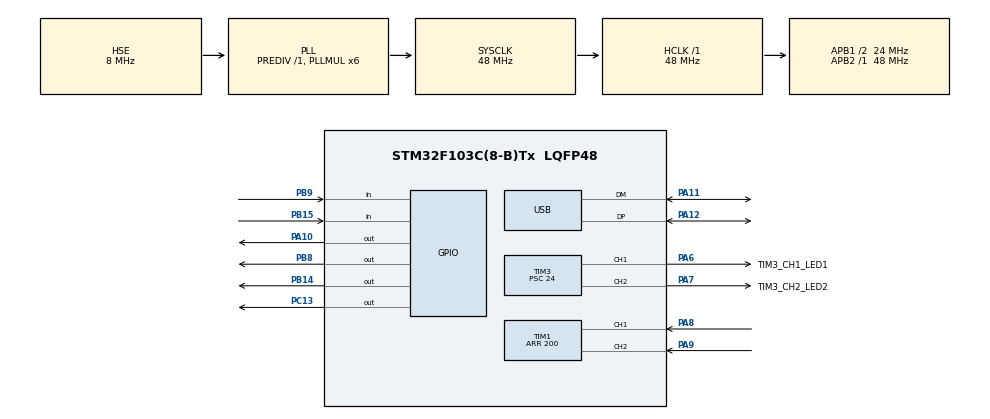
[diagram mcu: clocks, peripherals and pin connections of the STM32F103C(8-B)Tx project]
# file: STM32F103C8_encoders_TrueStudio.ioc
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Mcu.Family=STM32F1
Mcu.Name=STM32F103C(8-B)Tx
Mcu.Package=LQFP48
NVIC.PriorityGroup=NVIC_PRIORITYGROUP_4
NVIC.USB_LP_CAN1_RX0_IRQn=true\:0\:0\:false\:false\:true\:false
PA10.Signal=GPIO_Output
PA11.Mode=Device
PA11.Signal=USB_DM
PA12.Mode=Device
PA12.Signal=USB_DP
PA13.Mode=Serial_Wire
PA13.Signal=SYS_JTMS-SWDIO
PA14.Mode=Serial_Wire
PA14.Signal=SYS_JTCK-SWCLK
PA6.GPIO_Label=TIM3_CH1_LED1
PA6.Signal=S_TIM3_CH1
PA7.GPIO_Label=TIM3_CH2_LED2
PA7.Signal=S_TIM3_CH2
PA8.Signal=S_TIM1_CH1
PA9.Signal=S_TIM1_CH2
PB14.Signal=GPIO_Output
PB15.Signal=GPIO_Input
PB8.Signal=GPIO_Output
PB9.GPIO_PuPd=GPIO_PULLUP
PB9.Signal=GPIO_Input
PC13-TAMPER-RTC.Signal=GPIO_Output
PD0-OSC_IN.Mode=HSE-External-Oscillator
PD0-OSC_IN.Signal=RCC_OSC_IN
PD1-OSC_OUT.Mode=HSE-External-Oscillator
PD1-OSC_OUT.Signal=RCC_OSC_OUT
ProjectManager.HeapSize=0x200
ProjectManager.StackSize=0x400
ProjectManager.TargetToolchain=TrueSTUDIO
RCC.AHBFreq_Value=48000000
RCC.APB1CLKDivider=RCC_HCLK_DIV2
RCC.APB1Freq_Value=24000000
RCC.APB1TimFreq_Value=48000000
RCC.APB2Freq_Value=48000000
RCC.APB2TimFreq_Value=48000000
RCC.HCLKFreq_Value=48000000
RCC.PLLMUL=RCC_PLL_MUL6
RCC.SYSCLKFreq_VALUE=48000000
RCC.SYSCLKSource=RCC_SYSCLKSOURCE_PLLCLK
RCC.USBFreq_Value=48000000
SH.S_TIM1_CH1.0=TIM1_CH1,Encoder_Interface
SH.S_TIM1_CH2.0=TIM1_CH2,Encoder_Interface
SH.S_TIM3_CH1.0=TIM3_CH1,PWM Generation1 CH1
SH.S_TIM3_CH2.0=TIM3_CH2,PWM Generation2 CH2
TIM1.EncoderMode=TIM_ENCODERMODE_TI1
TIM1.IC1Filter=0
TIM1.IC2Filter=0
TIM1.Period=200
TIM3.Channel-PWM\ Generation1\ CH1=TIM_CHANNEL_1
TIM3.Channel-PWM\ Generation2\ CH2=TIM_CHANNEL_2
TIM3.Period=200
TIM3.Prescaler=24
USB.ep0_mps=DEP0CTL_MPS_64
USB_DEVICE.CLASS_NAME_FS=CDC
USB_DEVICE.VirtualMode=Cdc
USB_DEVICE.VirtualModeFS=Cdc_FS
VP_TIM3_VS_ClockSourceINT.Mode=Internal
VP_USB_DEVICE_VS_USB_DEVICE_CDC_FS.Mode=CDC_FS
board=STM32F103C8_encoders_TrueStudio

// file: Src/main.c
/**
  ******************************************************************************
  * @file           : main.c
  * @brief          : Main program body
  ******************************************************************************
  * This notice applies to any and all portions of this file
  * that are not between comment pairs USER CODE BEGIN and
  * USER CODE END. Other portions of this file, whether
  * inserted by the user or by software development tools
  * are owned by their respective copyright owners.
  *
  * Copyright (c) 2018 STMicroelectronics International N.V.
  * All rights reserved.
  *
  * Redistribution and use in source and binary forms, with or without
  * modification, are permitted, provided that the following conditions are met:
  *
  * 1. Redistribution of source code must retain the above copyright notice,
  *    this list of conditions and the following disclaimer.
  * 2. Redistributions in binary form must reproduce the above copyright notice,
  *    this list of conditions and the following disclaimer in the documentation
  *    and/or other materials provided with the distribution.
  * 3. Neither the name of STMicroelectronics nor the names of other
  *    contributors to this software may be used to endorse or promote products
  *    derived from this software without specific written permission.
  * 4. This software, including modifications and/or derivative works of this
  *    software, must execute solely and exclusively on microcontroller or
  *    microprocessor devices manufactured by or for STMicroelectronics.
  * 5. Redistribution and use of this software other than as permitted under
  *    this license is void and will automatically terminate your rights under
  *    this license.
  *
  * THIS SOFTWARE IS PROVIDED BY STMICROELECTRONICS AND CONTRIBUTORS "AS IS"
  * AND ANY EXPRESS, IMPLIED OR STATUTORY WARRANTIES, INCLUDING, BUT NOT
  * LIMITED TO, THE IMPLIED WARRANTIES OF MERCHANTABILITY, FITNESS FOR A
  * PARTICULAR PURPOSE AND NON-INFRINGEMENT OF THIRD PARTY INTELLECTUAL PROPERTY
  * RIGHTS ARE DISCLAIMED TO THE FULLEST EXTENT PERMITTED BY LAW. IN NO EVENT
  * SHALL STMICROELECTRONICS OR CONTRIBUTORS BE LIABLE FOR ANY DIRECT, INDIRECT,
  * INCIDENTAL, SPECIAL, EXEMPLARY, OR CONSEQUENTIAL DAMAGES (INCLUDING, BUT NOT
  * LIMITED TO, PROCUREMENT OF SUBSTITUTE GOODS OR SERVICES; LOSS OF USE, DATA,
  * OR PROFITS; OR BUSINESS INTERRUPTION) HOWEVER CAUSED AND ON ANY THEORY OF
  * LIABILITY, WHETHER IN CONTRACT, STRICT LIABILITY, OR TORT (INCLUDING
  * NEGLIGENCE OR OTHERWISE) ARISING IN ANY WAY OUT OF THE USE OF THIS SOFTWARE,
  * EVEN IF ADVISED OF THE POSSIBILITY OF SUCH DAMAGE.
  *
  ******************************************************************************
  */
#include "main.h"
#include "stm32f1xx_hal.h"
#include "usb_device.h"

/* USER CODE BEGIN Includes */
#include <stdio.h>
#include <stdarg.h>
#include <string.h>
/* USER CODE END Includes */

TIM_HandleTypeDef htim1;
TIM_HandleTypeDef htim3;

/* USER CODE BEGIN PV */
/* Private variables ---------------------------------------------------------*/

/* USER CODE END PV */

void SystemClock_Config(void);
static void MX_GPIO_Init(void);
static void MX_TIM1_Init(void);
static void MX_TIM3_Init(void);

void HAL_TIM_MspPostInit(TIM_HandleTypeDef *htim);

/* USER CODE BEGIN PFP */
/* Private function prototypes -----------------------------------------------*/

/* USER CODE END PFP */

/* USER CODE BEGIN 0 */
// copy from: https://electronics.stackexchange.com/questions/206113/how-do-i-use-the-printf-function-on-stm32
void vprint(const char *fmt, va_list argp)
{
    char string[200];
    if(0 < vsprintf(string,fmt,argp)) // build string
    {
    	CDC_Transmit_FS((uint8_t*)string, strlen(string)); // send message via USB Virtual COM Port
    }
}

void usb_printf(const char *fmt, ...) // custom printf() function
{
    va_list argp;
    va_start(argp, fmt);
    vprint(fmt, argp);
    va_end(argp);
}
/* USER CODE END 0 */

int main(void)
{

  /* MCU Configuration----------------------------------------------------------*/

  /* Reset of all peripherals, Initializes the Flash interface and the Systick. */
  HAL_Init();

  /* Configure the system clock */
  SystemClock_Config();

  /* Initialize all configured peripherals */
  MX_GPIO_Init();
  MX_TIM1_Init();
  MX_USB_DEVICE_Init();
  MX_TIM3_Init();

  /* USER CODE BEGIN 2 */

  // Encoder (GPIO, TIMER) ----
  HAL_GPIO_WritePin(GPIOB, GPIO_PIN_14, 1); // VCC
  HAL_GPIO_WritePin(GPIOA, GPIO_PIN_10, 0); // GND

  HAL_TIM_Encoder_Start(&htim1,TIM_CHANNEL_ALL);
  // ---- Encoder (GPIO, TIMER)

  // TIM PWM -----
  HAL_TIM_PWM_Start(&htim3, TIM_CHANNEL_1);
  HAL_TIM_PWM_Start(&htim3, TIM_CHANNEL_2);
  // ----- TIM PWM

  // USB: data to send -----
  uint8_t testDataToSend[8];
  for (uint8_t i = 0; i < 8; i++)
  {
    testDataToSend[i] = i+1;
  }
  // ----- USB: data to send

  /* USER CODE END 2 */

  /* Infinite loop */
  /* USER CODE BEGIN WHILE */
  int last_val = 0;
  while (1)
  {
	  HAL_Delay(100);
	  //ITM_SendChar( 65 ); // Test SWV (Serial Wire Viewer)

	  // Encoder -> LED Toggle
	  if(last_val != TIM1->CNT) {
		  HAL_GPIO_TogglePin(GPIOC, GPIO_PIN_13);
		  // Encoder -> Read counter
		  last_val = TIM1->CNT;
	  }
	  // USB Virtual COM Port -> Send encoder counter to PC
	  usb_printf("Enc: %d\n", last_val);

	  // GPIO - Read and write
	  int btn = HAL_GPIO_ReadPin(GPIOB, GPIO_PIN_15);
	  HAL_GPIO_WritePin(GPIOB, GPIO_PIN_8, btn);

	  // PWM -> set duty-cycle
	  __HAL_TIM_SET_COMPARE(&htim3, TIM_CHANNEL_1, last_val);
	  __HAL_TIM_SET_COMPARE(&htim3, TIM_CHANNEL_2, last_val);

  /* USER CODE END WHILE */

  }

}

void SystemClock_Config(void)
{

  RCC_OscInitTypeDef RCC_OscInitStruct;
  RCC_ClkInitTypeDef RCC_ClkInitStruct;
  RCC_PeriphCLKInitTypeDef PeriphClkInit;

    /**Initializes the CPU, AHB and APB busses clocks
    */
  RCC_OscInitStruct.OscillatorType = RCC_OSCILLATORTYPE_HSE;
  RCC_OscInitStruct.HSEState = RCC_HSE_ON;
  RCC_OscInitStruct.HSEPredivValue = RCC_HSE_PREDIV_DIV1;
  RCC_OscInitStruct.HSIState = RCC_HSI_ON;
  RCC_OscInitStruct.PLL.PLLState = RCC_PLL_ON;
  RCC_OscInitStruct.PLL.PLLSource = RCC_PLLSOURCE_HSE;
  RCC_OscInitStruct.PLL.PLLMUL = RCC_PLL_MUL6;
  if (HAL_RCC_OscConfig(&RCC_OscInitStruct) != HAL_OK)
  {
    _Error_Handler(__FILE__, __LINE__);
  }

    /**Initializes the CPU, AHB and APB busses clocks
    */
  RCC_ClkInitStruct.ClockType = RCC_CLOCKTYPE_HCLK|RCC_CLOCKTYPE_SYSCLK
                              |RCC_CLOCKTYPE_PCLK1|RCC_CLOCKTYPE_PCLK2;
  RCC_ClkInitStruct.SYSCLKSource = RCC_SYSCLKSOURCE_PLLCLK;
  RCC_ClkInitStruct.AHBCLKDivider = RCC_SYSCLK_DIV1;
  RCC_ClkInitStruct.APB1CLKDivider = RCC_HCLK_DIV2;
  RCC_ClkInitStruct.APB2CLKDivider = RCC_HCLK_DIV1;

  if (HAL_RCC_ClockConfig(&RCC_ClkInitStruct, FLASH_LATENCY_1) != HAL_OK)
  {
    _Error_Handler(__FILE__, __LINE__);
  }

  PeriphClkInit.PeriphClockSelection = RCC_PERIPHCLK_USB;
  PeriphClkInit.UsbClockSelection = RCC_USBCLKSOURCE_PLL;
  if (HAL_RCCEx_PeriphCLKConfig(&PeriphClkInit) != HAL_OK)
  {
    _Error_Handler(__FILE__, __LINE__);
  }

    /**Configure the Systick interrupt time
    */
  HAL_SYSTICK_Config(HAL_RCC_GetHCLKFreq()/1000);

    /**Configure the Systick
    */
  HAL_SYSTICK_CLKSourceConfig(SYSTICK_CLKSOURCE_HCLK);

  /* SysTick_IRQn interrupt configuration */
  HAL_NVIC_SetPriority(SysTick_IRQn, 0, 0);
}

/* TIM1 init function */
static void MX_TIM1_Init(void)
{

  TIM_Encoder_InitTypeDef sConfig;
  TIM_MasterConfigTypeDef sMasterConfig;

  htim1.Instance = TIM1;
  htim1.Init.Prescaler = 0;
  htim1.Init.CounterMode = TIM_COUNTERMODE_UP;
  htim1.Init.Period = 200;
  htim1.Init.ClockDivision = TIM_CLOCKDIVISION_DIV1;
  htim1.Init.RepetitionCounter = 0;
  htim1.Init.AutoReloadPreload = TIM_AUTORELOAD_PRELOAD_DISABLE;
  sConfig.EncoderMode = TIM_ENCODERMODE_TI1;
  sConfig.IC1Polarity = TIM_ICPOLARITY_RISING;
  sConfig.IC1Selection = TIM_ICSELECTION_DIRECTTI;
  sConfig.IC1Prescaler = TIM_ICPSC_DIV1;
  sConfig.IC1Filter = 0;
  sConfig.IC2Polarity = TIM_ICPOLARITY_RISING;
  sConfig.IC2Selection = TIM_ICSELECTION_DIRECTTI;
  sConfig.IC2Prescaler = TIM_ICPSC_DIV1;
  sConfig.IC2Filter = 0;
  if (HAL_TIM_Encoder_Init(&htim1, &sConfig) != HAL_OK)
  {
    _Error_Handler(__FILE__, __LINE__);
  }

  sMasterConfig.MasterOutputTrigger = TIM_TRGO_RESET;
  sMasterConfig.MasterSlaveMode = TIM_MASTERSLAVEMODE_DISABLE;
  if (HAL_TIMEx_MasterConfigSynchronization(&htim1, &sMasterConfig) != HAL_OK)
  {
    _Error_Handler(__FILE__, __LINE__);
  }

}

/* TIM3 init function */
static void MX_TIM3_Init(void)
{

  TIM_ClockConfigTypeDef sClockSourceConfig;
  TIM_MasterConfigTypeDef sMasterConfig;
  TIM_OC_InitTypeDef sConfigOC;

  htim3.Instance = TIM3;
  htim3.Init.Prescaler = 24;
  htim3.Init.CounterMode = TIM_COUNTERMODE_UP;
  htim3.Init.Period = 200;
  htim3.Init.ClockDivision = TIM_CLOCKDIVISION_DIV1;
  htim3.Init.AutoReloadPreload = TIM_AUTORELOAD_PRELOAD_DISABLE;
  if (HAL_TIM_Base_Init(&htim3) != HAL_OK)
  {
    _Error_Handler(__FILE__, __LINE__);
  }

  sClockSourceConfig.ClockSource = TIM_CLOCKSOURCE_INTERNAL;
  if (HAL_TIM_ConfigClockSource(&htim3, &sClockSourceConfig) != HAL_OK)
  {
    _Error_Handler(__FILE__, __LINE__);
  }

  if (HAL_TIM_PWM_Init(&htim3) != HAL_OK)
  {
    _Error_Handler(__FILE__, __LINE__);
  }

  sMasterConfig.MasterOutputTrigger = TIM_TRGO_RESET;
  sMasterConfig.MasterSlaveMode = TIM_MASTERSLAVEMODE_DISABLE;
  if (HAL_TIMEx_MasterConfigSynchronization(&htim3, &sMasterConfig) != HAL_OK)
  {
    _Error_Handler(__FILE__, __LINE__);
  }

  sConfigOC.OCMode = TIM_OCMODE_PWM1;
  sConfigOC.Pulse = 0;
  sConfigOC.OCPolarity = TIM_OCPOLARITY_HIGH;
  sConfigOC.OCFastMode = TIM_OCFAST_DISABLE;
  if (HAL_TIM_PWM_ConfigChannel(&htim3, &sConfigOC, TIM_CHANNEL_1) != HAL_OK)
  {
    _Error_Handler(__FILE__, __LINE__);
  }

  if (HAL_TIM_PWM_ConfigChannel(&htim3, &sConfigOC, TIM_CHANNEL_2) != HAL_OK)
  {
    _Error_Handler(__FILE__, __LINE__);
  }

  HAL_TIM_MspPostInit(&htim3);

}

/** Configure pins as
        * Analog
        * Input
        * Output
        * EVENT_OUT
        * EXTI
*/
static void MX_GPIO_Init(void)
{

  GPIO_InitTypeDef GPIO_InitStruct;

  /* GPIO Ports Clock Enable */
  __HAL_RCC_GPIOC_CLK_ENABLE();
  __HAL_RCC_GPIOD_CLK_ENABLE();
  __HAL_RCC_GPIOA_CLK_ENABLE();
  __HAL_RCC_GPIOB_CLK_ENABLE();

  /*Configure GPIO pin Output Level */
  HAL_GPIO_WritePin(GPIOC, GPIO_PIN_13, GPIO_PIN_RESET);

  /*Configure GPIO pin Output Level */
  HAL_GPIO_WritePin(GPIOB, GPIO_PIN_14|GPIO_PIN_8, GPIO_PIN_RESET);

  /*Configure GPIO pin Output Level */
  HAL_GPIO_WritePin(GPIOA, GPIO_PIN_10, GPIO_PIN_RESET);

  /*Configure GPIO pin : PC13 */
  GPIO_InitStruct.Pin = GPIO_PIN_13;
  GPIO_InitStruct.Mode = GPIO_MODE_OUTPUT_PP;
  GPIO_InitStruct.Speed = GPIO_SPEED_FREQ_LOW;
  HAL_GPIO_Init(GPIOC, &GPIO_InitStruct);

  /*Configure GPIO pins : PB14 PB8 */
  GPIO_InitStruct.Pin = GPIO_PIN_14|GPIO_PIN_8;
  GPIO_InitStruct.Mode = GPIO_MODE_OUTPUT_PP;
  GPIO_InitStruct.Speed = GPIO_SPEED_FREQ_LOW;
  HAL_GPIO_Init(GPIOB, &GPIO_InitStruct);

  /*Configure GPIO pin : PB15 */
  GPIO_InitStruct.Pin = GPIO_PIN_15;
  GPIO_InitStruct.Mode = GPIO_MODE_INPUT;
  GPIO_InitStruct.Pull = GPIO_NOPULL;
  HAL_GPIO_Init(GPIOB, &GPIO_InitStruct);

  /*Configure GPIO pin : PA10 */
  GPIO_InitStruct.Pin = GPIO_PIN_10;
  GPIO_InitStruct.Mode = GPIO_MODE_OUTPUT_PP;
  GPIO_InitStruct.Speed = GPIO_SPEED_FREQ_LOW;
  HAL_GPIO_Init(GPIOA, &GPIO_InitStruct);

  /*Configure GPIO pin : PB9 */
  GPIO_InitStruct.Pin = GPIO_PIN_9;
  GPIO_InitStruct.Mode = GPIO_MODE_INPUT;
  GPIO_InitStruct.Pull = GPIO_PULLUP;
  HAL_GPIO_Init(GPIOB, &GPIO_InitStruct);

}

void _Error_Handler(char *file, int line)
{
  while(1)
  {
  }
}

/************************ (C) COPYRIGHT STMicroelectronics *****END OF FILE****/
